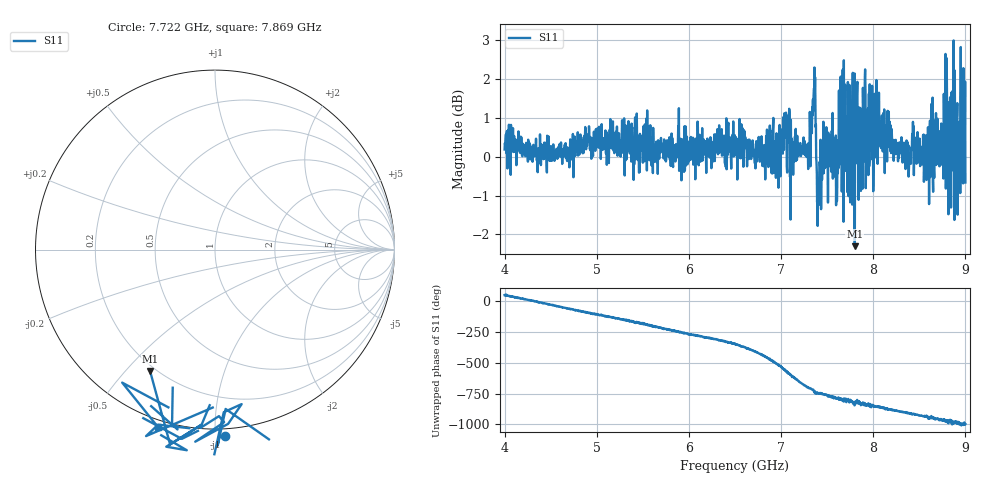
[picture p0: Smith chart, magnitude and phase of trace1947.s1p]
! Created with skrf 1.8.0 (http://scikit-rf.org).
# Hz S RI R 50.0
!freq ReS11 ImS11
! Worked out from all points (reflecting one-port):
!   1601 points, 4 GHz to 9 GHz, reference 50 ohm
!   lowest |S11| = -2.3 dB at 7.8 GHz (marker M1), VSWR 7.59, Z = 8.9 - j29.3 ohm
!   phase of S11 starts at 50 deg and turns -1049 deg over the sweep
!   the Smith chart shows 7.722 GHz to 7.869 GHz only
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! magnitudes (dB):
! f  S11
! 4 GHz  0.2
! 4.625 GHz  -0.2
! 5.25 GHz  0.0
! 5.875 GHz  0.1
! 6.5 GHz  0.4
! 6.816 GHz  0.3
! 7.066 GHz  -0.4
! 7.125 GHz  0.3
! 7.294 GHz  -0.3
! 7.347 GHz  1.5
! 7.412 GHz  -0.9
! 7.478 GHz  -0.3
! 7.597 GHz  -1.2
! 7.669 GHz  2.2
! 7.75 GHz  -1.2
! 7.775 GHz  1.4
! 7.8 GHz  -2.3
! 7.834 GHz  0.2
! 7.859 GHz  1.3
! 8.088 GHz  0.3
! 8.375 GHz  0.0
! 8.581 GHz  -0.5
! 8.619 GHz  -0.5
! 8.738 GHz  0.9
! 8.788 GHz  -0.8
! 8.919 GHz  -0.1
! 8.972 GHz  0.4
! 9 GHz  -0.7
